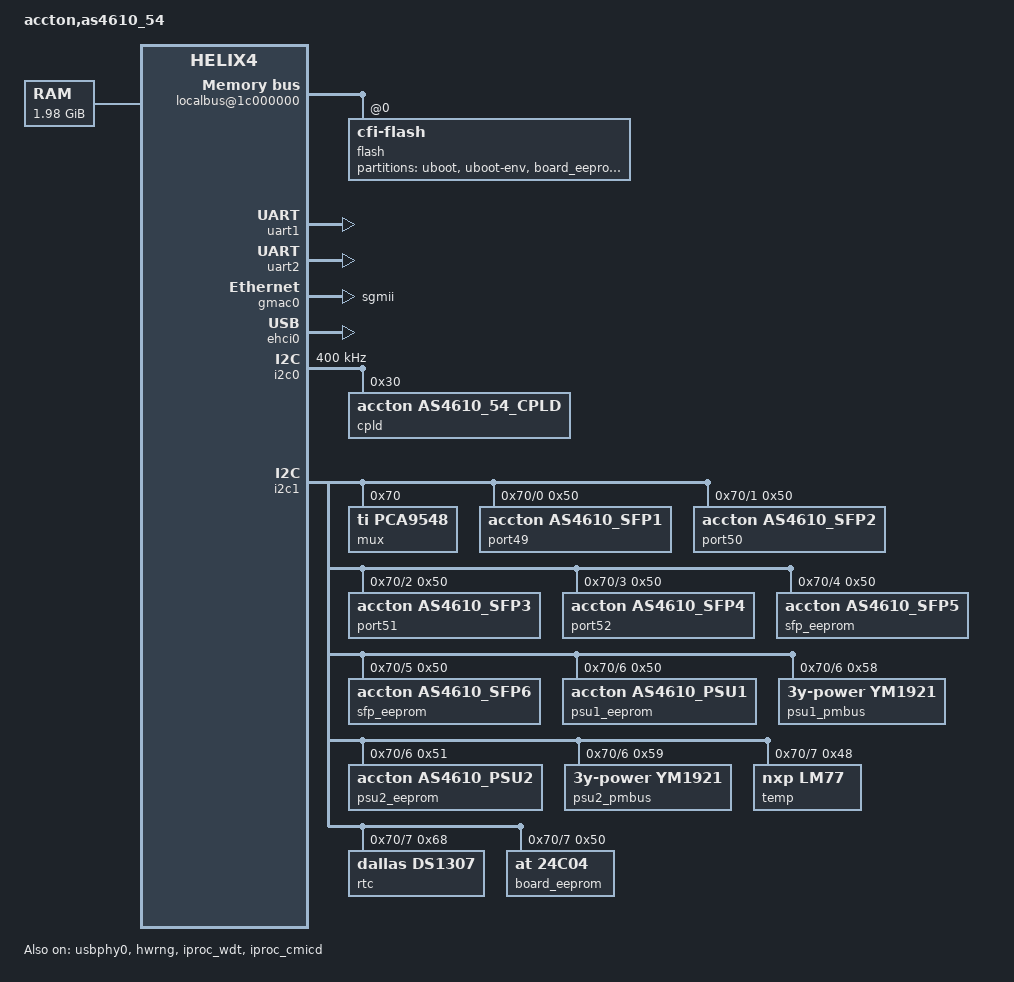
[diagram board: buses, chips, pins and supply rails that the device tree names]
/*
 * Accton AS4610 54 Device Tree Source
 *
 * Copyright 2015, Cumulus Networks, Inc.
 *
 * This program is free software; you can redistribute  it and/or modify it
 * under  the terms of  the GNU General  Public License as published by the
 * Free Software Foundation;  either version 2 of the  License, or (at your
 * option) any later version.
 *
 */
/dts-v1/;
#include "dts/bcm-helix4.dtsi"

/ {
    model = "accton,as4610_54";
    compatible = "accton,as4610_54","brcm,helix4";

    aliases {
        serial0 = &uart1;
        serial1 = &uart2;
        ethernet0 = &gmac0;
        i2c-controller0 = &i2c0;
        i2c-controller1 = &i2c1;
    };
/*
    chosen {
	bootargs = "console=ttyS0,115200n8 maxcpus=2 mem=2000M";
    };
*/
    memory {
        reg = <0x61000000 0x7f000000>;
    };

    localbus@1c000000 {
        #address-cells = <0x2>;
        #size-cells = <0x1>;
        /* NAND Flash */
        ranges = <
            0x0 0x0 0x0 0x1c000000 0x00120000
            0x1 0x0 0x0 0x1c120000 0x00040000
        >;

        flash@0,0 {
            #address-cells = <1>;
            #size-cells = <1>;
            compatible = "cfi-flash";
            reg = <0x0 0x0 0x02000000>;
            byteswap;

            partition@0 {
                /* uboot */
                reg = <0x00000000 0x00100000>;
                label = "uboot";
            };
            partition@1 {
                /* uboot-env */
                reg = <0x00100000 0x00100000>;
                label = "uboot-env";
                env_size = <0x2000>;
            };
            partition@2 {
                /* board_eeprom */
                reg = <0x00200000 0x00100000>;
                label = "board_eeprom";
            };
            partition@3 {
                /* shmoo */
                reg = <0x00300000 0x00100000>;
                label = "shmoo";
            };
            partition@4 {
                /* onie */
                reg = <0x00400000 0x00800000>;
                label = "onie";
            };
            partition@5 {
                /* open */
                reg = <0x00c00000 0x03c00000>;
                label = "open";
            };
            partition@6 {
                /* open2 */
                reg = <0x04800000 0x7d000000>;
                label = "open2";
            };
            partition@7 {
                /* diag */
                reg = <0xfec00000 0x01000000>;
                label = "diag";
            };
        };
    };
};

&uart1 {
	status = "okay";
};

&uart2 {
	status = "okay";
};

&gmac0 {
	status = "okay";
	phy-mode = "sgmii"; /* "gmii-id", "gmii-rxid", "sgmii" */
};

&usbphy0 {
    status = "okay";
    usb-phy-mode = "host"; /* "host", "device" */
/*	mdio-phy-handle = <&usb_phy>;
*/
};

&ehci0 {
	status = "okay";
};

&gpio_cca {
       status = "okay";
};

&i2c0 {
	status = "okay";
        clock-frequency = <400000>;
        cpld@30 {
        #address-cells = <1>;
        #size-cells = <1>;
        compatible = "accton,as4610_54_cpld";
        label = "cpld";
        reg = <0x30>;
    };	
};

&i2c1 {
	status = "okay";
        mux@70 {
            compatible = "ti,pca9548";
            reg = <0x70>;
            #address-cells = <1>;
            #size-cells = <0>;
            deselect-on-exit;

        // SFP+ 1
        i2c@0 {
            #address-cells = <1>;
            #size-cells = <0>;
            reg = <0>;
            sfp_eeprom@50 {
                compatible = "accton,as4610_sfp1";
                reg = <0x50>;
                label = "port49";
            };
        };

        // SFP+ 2
        i2c@1 {
            #address-cells = <1>;
            #size-cells = <0>;
            reg = <1>;
            sfp_eeprom@50 {
                compatible = "accton,as4610_sfp2";
                reg = <0x50>;
                label = "port50";
            };
        };

        // SFP+ 3
        i2c@2 {
            #address-cells = <1>;
            #size-cells = <0>;
            reg = <2>;
            sfp_eeprom@50 {
                compatible = "accton,as4610_sfp3";
                reg = <0x50>;
                label = "port51";
            };
        };

        // SFP+ 4
        i2c@3 {
            #address-cells = <1>;
            #size-cells = <0>;
            reg = <3>;
            sfp_eeprom@50 {
                compatible = "accton,as4610_sfp4";
                reg = <0x50>;
                label = "port52";
            };
        };

        // QSFP+ STK1
        i2c@4 {
            #address-cells = <1>;
            #size-cells = <0>;
            reg = <4>;
            sfp_eeprom@50 {
                compatible = "accton,as4610_sfp5";
                reg = <0x50>;
            };
        };

        // QSFP+ STK2
        i2c@5 {
            #address-cells = <1>;
            #size-cells = <0>;
            reg = <5>;
            sfp_eeprom@50 {
                compatible = "accton,as4610_sfp6";
                reg = <0x50>;
            };
        };

        // PSU EEPROM
        i2c@6 {
            #address-cells = <1>;
            #size-cells = <0>;
            reg = <6>;
            psu1_eeprom@50 {
                compatible = "accton,as4610_psu1";
                reg = <0x50>;
            };
            psu1_pmbus@58 {
                compatible = "3y-power,ym1921";
                reg = <0x58>;
            };
            psu2_eeprom@51 {
                compatible = "accton,as4610_psu2";
                reg = <0x51>;
            };
            psu2_pmbus@59 {
                compatible = "3y-power,ym1921";
                reg = <0x59>;
            };
        };

        i2c@7 {
            #address-cells = <1>;
            #size-cells = <0>;
            reg = <7>;

            temp@48 {
                compatible = "nxp,lm77";
                reg = <0x48>;
            };

            rtc@68 {
                /* Actually M41T11 */
                compatible = "dallas,ds1307";
                reg = <0x68>;
            };

            board_eeprom@50 {
                compatible = "at,24c04";
                reg = <0x50>;
                label = "board_eeprom";
            };
        };
    };	
};

/*
&mdio_int {
    status = "okay";
    usb_phy: usb_phy@0 {
        reg = <6>;
    };
};
*/

&hwrng {
	status = "okay";
};

&iproc_wdt {
	status = "okay";
};

&dmac0 {
	status = "okay";
};

&iproc_cmicd {
	status = "okay";
};
